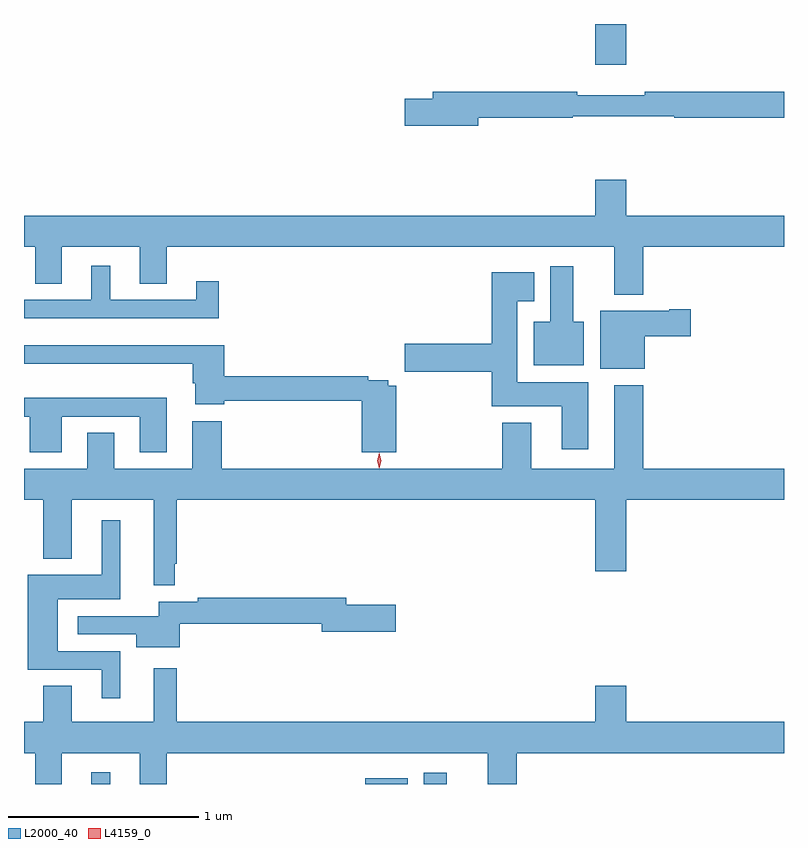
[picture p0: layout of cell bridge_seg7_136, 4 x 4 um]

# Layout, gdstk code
import gdstk
lib = gdstk.Library(unit=1e-6, precision=1e-09)
def R(c, l, rs):  # rectangles x0, y0, x1, y1
    for r in rs: c.add(gdstk.rectangle(r[:2], r[2:], *l))
def P(c, l, *ps):  # polygons
    for p in ps: c.add(gdstk.Polygon(p, *l))
L2000_40 = (2000, 40)
L4159_0 = (4159, 0)

bridge_seg7_136 = lib.new_cell('bridge_seg7_136')
R(bridge_seg7_136, L2000_40, [(821.696,1024.429,821.794,1024.492), (823.136,1024.429,823.36,1024.459), (823.445,1024.429,823.567,1024.489), (824.348,1028.214,824.512,1028.429)])
P(bridge_seg7_136, L2000_40, [(823.732,1027.936),(824.228,1027.936),(824.228,1027.944),(824.763,1027.944),(824.763,1027.936),(825.341,1027.936),(825.341,1028.072),(824.608,1028.072),(824.608,1028.053),(824.252,1028.053),(824.252,1028.072),(823.493,1028.072),(823.493,1028.036),(823.344,1028.036),(823.344,1027.894),(823.732,1027.894)],
  [(824.6,1027.256),(825.341,1027.256),(825.341,1027.42),(824.512,1027.42),(824.512,1027.609),(824.348,1027.609),(824.348,1027.42),(821.341,1027.42),(821.341,1027.256),(821.399,1027.256),(821.399,1027.063),(821.539,1027.063),(821.539,1027.256),(821.951,1027.256),(821.951,1027.063),(822.091,1027.063),(822.091,1027.256),(824.447,1027.256),(824.447,1027.004),(824.6,1027.004)],
  [(822.365,1027.075),(822.248,1027.075),(822.248,1026.978),(821.794,1026.978),(821.794,1027.156),(821.696,1027.156),(821.696,1026.978),(821.341,1026.978),(821.341,1026.881),(822.365,1026.881)],
  [(824.287,1026.862),(824.233,1026.862),(824.233,1027.153),(824.111,1027.153),(824.111,1026.862),(824.024,1026.862),(824.024,1026.632),(824.287,1026.632)],
  [(824.311,1026.544),(823.936,1026.544),(823.936,1026.971),(824.026,1026.971),(824.026,1027.123),(823.802,1027.123),(823.802,1026.746),(823.344,1026.746),(823.344,1026.599),(823.802,1026.599),(823.802,1026.416),(824.171,1026.416),(824.171,1026.192),(824.311,1026.192)],
  [(824.608,1026.785),(824.851,1026.785),(824.851,1026.927),(824.738,1026.927),(824.738,1026.919),(824.375,1026.919),(824.375,1026.614),(824.608,1026.614)],
  [(823.301,1026.526),(823.258,1026.526),(823.258,1026.555),(823.154,1026.555),(823.154,1026.575),(822.395,1026.575),(822.395,1026.739),(821.341,1026.739),(821.341,1026.641),(822.23,1026.641),(822.23,1026.539),(822.242,1026.539),(822.242,1026.428),(822.395,1026.428),(822.395,1026.447),(823.118,1026.447),(823.118,1026.174),(823.301,1026.174)],
  [(822.134,1025.587),(822.145,1025.587),(822.145,1025.924),(824.348,1025.924),(824.348,1025.55),(824.512,1025.55),(824.512,1025.924),(825.341,1025.924),(825.341,1026.088),(824.6,1026.088),(824.6,1026.529),(824.447,1026.529),(824.447,1026.088),(824.011,1026.088),(824.011,1026.331),(823.859,1026.331),(823.859,1026.088),(822.383,1026.088),(822.383,1026.337),(822.227,1026.337),(822.227,1026.088),(821.815,1026.088),(821.815,1026.277),(821.675,1026.277),(821.675,1026.088),(821.341,1026.088),(821.341,1025.924),(821.441,1025.924),(821.441,1025.615),(821.593,1025.615),(821.593,1025.924),(822.023,1025.924),(822.023,1025.475),(822.134,1025.475)],
  [(821.539,1026.362),(821.951,1026.362),(821.951,1026.174),(822.091,1026.174),(822.091,1026.463),(821.341,1026.463),(821.341,1026.362),(821.372,1026.362),(821.372,1026.174),(821.539,1026.174)],
  [(821.848,1025.127),(821.518,1025.127),(821.518,1025.402),(821.848,1025.402),(821.848,1025.818),(821.75,1025.818),(821.75,1025.53),(821.36,1025.53),(821.36,1025.031),(821.75,1025.031),(821.75,1024.881),(821.848,1024.881)],
  [(822.16,1025.272),(822.908,1025.272),(822.908,1025.23),(823.297,1025.23),(823.297,1025.372),(823.036,1025.372),(823.036,1025.408),(822.256,1025.408),(822.256,1025.388),(822.05,1025.388),(822.05,1025.313),(821.625,1025.313),(821.625,1025.217),(821.933,1025.217),(821.933,1025.15),(822.16,1025.15)],
  [(821.539,1024.592),(821.951,1024.592),(821.951,1024.429),(822.091,1024.429),(822.091,1024.592),(823.781,1024.592),(823.781,1024.429),(823.934,1024.429),(823.934,1024.592),(825.341,1024.592),(825.341,1024.756),(824.512,1024.756),(824.512,1024.945),(824.348,1024.945),(824.348,1024.756),(822.145,1024.756),(822.145,1025.038),(822.023,1025.038),(822.023,1024.756),(821.593,1024.756),(821.593,1024.946),(821.441,1024.946),(821.441,1024.756),(821.341,1024.756),(821.341,1024.592),(821.399,1024.592),(821.399,1024.429),(821.539,1024.429)])
P(bridge_seg7_136, L4159_0, [(823.211,1026.091),(823.211,1026.091),(823.201,1026.131),(823.211,1026.171),(823.211,1026.172),(823.211,1026.171),(823.221,1026.131),(823.211,1026.091)])

lib.write_gds('bridge_seg7_136.gds')
